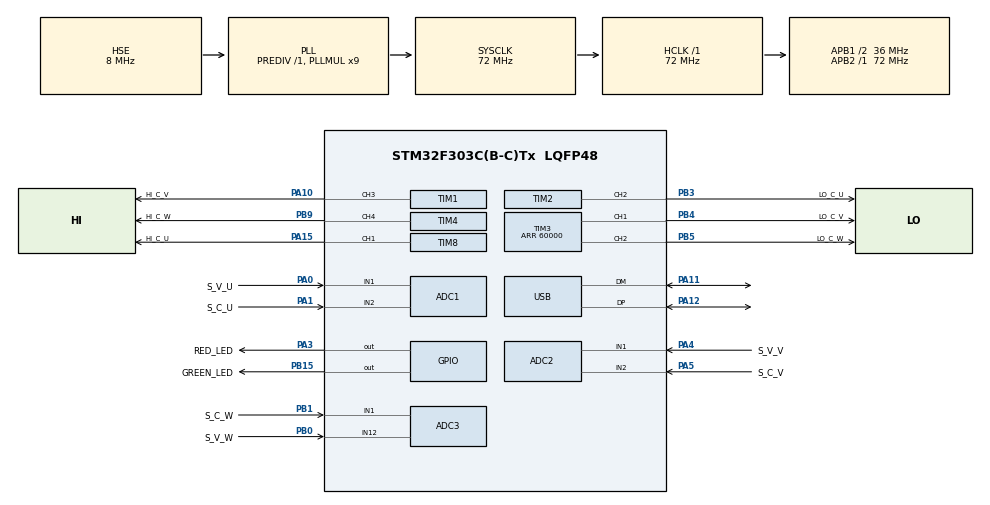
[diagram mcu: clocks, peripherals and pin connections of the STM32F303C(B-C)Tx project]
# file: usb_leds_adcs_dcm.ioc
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ADC1.Channel-12\#ChannelRegularConversion=ADC_CHANNEL_1
ADC1.Channel-13\#ChannelRegularConversion=ADC_CHANNEL_2
ADC1.ClockPrescaler=ADC_CLOCK_ASYNC_DIV1
ADC1.ContinuousConvMode=ENABLE
ADC1.EnableInjectedConversion=DISABLE
ADC1.EnableRegularConversion=ENABLE
ADC1.NbrOfConversion=2
ADC1.NbrOfConversionFlag=1
ADC1.Offset-12\#ChannelRegularConversion=0
ADC1.Offset-13\#ChannelRegularConversion=0
ADC1.OffsetNumber-12\#ChannelRegularConversion=ADC_OFFSET_NONE
ADC1.OffsetNumber-13\#ChannelRegularConversion=ADC_OFFSET_NONE
ADC1.Rank-12\#ChannelRegularConversion=1
ADC1.Rank-13\#ChannelRegularConversion=2
ADC1.Rank1_Channel=ADC_CHANNEL_1
ADC1.Rank2_Channel=ADC_CHANNEL_1
ADC1.Rank3_Channel=ADC_CHANNEL_1
ADC1.Rank4_Channel=ADC_CHANNEL_1
ADC1.SamplingTime-12\#ChannelRegularConversion=ADC_SAMPLETIME_1CYCLE_5
ADC1.SamplingTime-13\#ChannelRegularConversion=ADC_SAMPLETIME_1CYCLE_5
ADC1.SamplingTimeOPAMP-12\#ChannelRegularConversion=ADC_SAMPLETIME_61CYCLES_5
ADC1.SamplingTimeOPAMP-13\#ChannelRegularConversion=ADC_SAMPLETIME_61CYCLES_5
ADC1.master=1
ADC2.Channel-0\#ChannelRegularConversion=ADC_CHANNEL_1
ADC2.Channel-1\#ChannelRegularConversion=ADC_CHANNEL_2
ADC2.ContinuousConvMode=ENABLE
ADC2.EnableInjectedConversion=DISABLE
ADC2.NbrOfConversion=2
ADC2.NbrOfConversionFlag=1
ADC2.Offset-0\#ChannelRegularConversion=0
ADC2.Offset-1\#ChannelRegularConversion=0
ADC2.OffsetNumber-0\#ChannelRegularConversion=ADC_OFFSET_NONE
ADC2.OffsetNumber-1\#ChannelRegularConversion=ADC_OFFSET_NONE
ADC2.Rank-0\#ChannelRegularConversion=1
ADC2.Rank-1\#ChannelRegularConversion=2
ADC2.SamplingTime-0\#ChannelRegularConversion=ADC_SAMPLETIME_1CYCLE_5
ADC2.SamplingTime-1\#ChannelRegularConversion=ADC_SAMPLETIME_1CYCLE_5
ADC2.SamplingTimeOPAMP-1\#ChannelRegularConversion=ADC_SAMPLETIME_19CYCLES_5
ADC3.Channel-0\#ChannelRegularConversion=ADC_CHANNEL_1
ADC3.Channel-1\#ChannelRegularConversion=ADC_CHANNEL_12
ADC3.ContinuousConvMode=ENABLE
ADC3.EnableInjectedConversion=DISABLE
ADC3.NbrOfConversion=2
ADC3.NbrOfConversionFlag=1
ADC3.Offset-0\#ChannelRegularConversion=0
ADC3.Offset-1\#ChannelRegularConversion=0
ADC3.OffsetNumber-0\#ChannelRegularConversion=ADC_OFFSET_NONE
ADC3.OffsetNumber-1\#ChannelRegularConversion=ADC_OFFSET_NONE
ADC3.Rank-0\#ChannelRegularConversion=1
ADC3.Rank-1\#ChannelRegularConversion=2
ADC3.SamplingTime-0\#ChannelRegularConversion=ADC_SAMPLETIME_1CYCLE_5
ADC3.SamplingTime-1\#ChannelRegularConversion=ADC_SAMPLETIME_1CYCLE_5
ADC3.SamplingTimeOPAMP-1\#ChannelRegularConversion=ADC_SAMPLETIME_19CYCLES_5
ADC3.master=1
Dma.ADC1.0.Direction=DMA_PERIPH_TO_MEMORY
Dma.ADC1.0.Instance=DMA1_Channel1
Dma.ADC1.0.MemDataAlignment=DMA_MDATAALIGN_HALFWORD
Dma.ADC1.0.MemInc=DMA_MINC_ENABLE
Dma.ADC1.0.Mode=DMA_NORMAL
Dma.ADC1.0.PeriphDataAlignment=DMA_PDATAALIGN_HALFWORD
Dma.ADC1.0.PeriphInc=DMA_PINC_DISABLE
Dma.ADC1.0.Priority=DMA_PRIORITY_LOW
Dma.ADC2.1.Direction=DMA_PERIPH_TO_MEMORY
Dma.ADC2.1.Instance=DMA2_Channel1
Dma.ADC2.1.MemDataAlignment=DMA_MDATAALIGN_HALFWORD
Dma.ADC2.1.MemInc=DMA_MINC_ENABLE
Dma.ADC2.1.Mode=DMA_NORMAL
Dma.ADC2.1.PeriphDataAlignment=DMA_PDATAALIGN_HALFWORD
Dma.ADC2.1.PeriphInc=DMA_PINC_DISABLE
Dma.ADC2.1.Priority=DMA_PRIORITY_LOW
Dma.ADC3.2.Direction=DMA_PERIPH_TO_MEMORY
Dma.ADC3.2.Instance=DMA2_Channel5
Dma.ADC3.2.MemDataAlignment=DMA_MDATAALIGN_HALFWORD
Dma.ADC3.2.MemInc=DMA_MINC_ENABLE
Dma.ADC3.2.Mode=DMA_NORMAL
Dma.ADC3.2.PeriphDataAlignment=DMA_PDATAALIGN_HALFWORD
Dma.ADC3.2.PeriphInc=DMA_PINC_DISABLE
Dma.ADC3.2.Priority=DMA_PRIORITY_LOW
Dma.Request0=ADC1
Dma.Request1=ADC2
Dma.Request2=ADC3
Mcu.Family=STM32F3
Mcu.Name=STM32F303C(B-C)Tx
Mcu.Package=LQFP48
NVIC.DMA1_Channel1_IRQn=true\:0\:0\:false\:false\:true\:false\:true
NVIC.DMA2_Channel1_IRQn=true\:0\:0\:false\:false\:true\:false\:true
NVIC.DMA2_Channel5_IRQn=true\:0\:0\:false\:false\:true\:false\:true
NVIC.PriorityGroup=NVIC_PRIORITYGROUP_4
NVIC.USB_LP_CAN_RX0_IRQn=true\:0\:0\:false\:false\:true\:false\:true
PA0.GPIO_Label=S_V_U
PA0.Mode=IN1-Single-Ended
PA0.Signal=ADC1_IN1
PA1.GPIO_Label=S_C_U
PA1.Mode=IN2-Single-Ended
PA1.Signal=ADC1_IN2
PA10.GPIO_Label=HI_C_V
PA10.Signal=S_TIM1_CH3
PA11.Mode=Device
PA11.Signal=USB_DM
PA12.Mode=Device
PA12.Signal=USB_DP
PA15.GPIO_Label=HI_C_U
PA15.Signal=S_TIM8_CH1
PA3.GPIO_Label=RED_LED
PA3.Signal=GPIO_Output
PA4.GPIO_Label=S_V_V
PA4.Mode=IN1-Single-Ended
PA4.Signal=ADC2_IN1
PA5.GPIO_Label=S_C_V
PA5.Mode=IN2-Single-Ended
PA5.Signal=ADC2_IN2
PB0.GPIO_Label=S_V_W
PB0.Mode=IN12-Single-Ended
PB0.Signal=ADC3_IN12
PB1.GPIO_Label=S_C_W
PB1.Mode=IN1-Single-Ended
PB1.Signal=ADC3_IN1
PB15.GPIO_Label=GREEN_LED
PB15.Signal=GPIO_Output
PB3.GPIO_Label=LO_C_U
PB3.Signal=S_TIM2_CH2
PB4.GPIO_Label=LO_C_V
PB4.Signal=S_TIM3_CH1
PB5.GPIO_Label=LO_C_W
PB5.Signal=S_TIM3_CH2
PB9.GPIO_Label=HI_C_W
PB9.Signal=S_TIM4_CH4
PF0-OSC_IN.Mode=HSE-External-Oscillator
PF0-OSC_IN.Signal=RCC_OSC_IN
PF1-OSC_OUT.Mode=HSE-External-Oscillator
PF1-OSC_OUT.Signal=RCC_OSC_OUT
ProjectManager.HeapSize=0x400
ProjectManager.StackSize=0x400
ProjectManager.TargetToolchain=MDK-ARM V5
RCC.AHBFreq_Value=72000000
RCC.APB1CLKDivider=RCC_HCLK_DIV2
RCC.APB1Freq_Value=36000000
RCC.APB1TimFreq_Value=72000000
RCC.APB2Freq_Value=72000000
RCC.APB2TimFreq_Value=72000000
RCC.CortexFreq_Value=72000000
RCC.HCLKFreq_Value=72000000
RCC.HSE_VALUE=8000000
RCC.HSI_VALUE=8000000
RCC.LSE_VALUE=32768
RCC.PLLMUL=RCC_PLL_MUL9
RCC.PRESCALERUSB=RCC_USBCLKSOURCE_PLL_DIV1_5
RCC.SYSCLKFreq_VALUE=72000000
RCC.SYSCLKSourceVirtual=RCC_SYSCLKSOURCE_PLLCLK
RCC.USBFreq_Value=48000000
SH.S_TIM1_CH3.0=TIM1_CH3,PWM Generation3 CH3
SH.S_TIM2_CH2.0=TIM2_CH2,PWM Generation2 CH2
SH.S_TIM3_CH1.0=TIM3_CH1,PWM Generation1 CH1
SH.S_TIM3_CH2.0=TIM3_CH2,PWM Generation2 CH2
SH.S_TIM4_CH4.0=TIM4_CH4,PWM Generation4 CH4
SH.S_TIM8_CH1.0=TIM8_CH1,PWM Generation1 CH1
TIM1.Channel-PWM\ Generation3\ CH3=TIM_CHANNEL_3
TIM1.Period=60000
TIM1.Pulse-PWM\ Generation3\ CH3=0
TIM2.Channel-PWM\ Generation2\ CH2=TIM_CHANNEL_2
TIM2.Period=60000
TIM2.Pulse-PWM\ Generation2\ CH2=0
TIM3.Channel-PWM\ Generation1\ CH1=TIM_CHANNEL_1
TIM3.Channel-PWM\ Generation2\ CH2=TIM_CHANNEL_2
TIM3.Period=60000
TIM4.Channel-PWM\ Generation4\ CH4=TIM_CHANNEL_4
TIM4.Period=60000
TIM8.Channel-PWM\ Generation1\ CH1=TIM_CHANNEL_1
TIM8.Period=60000
TIM8.Pulse-PWM\ Generation1\ CH1=0
USB_DEVICE.CLASS_NAME_FS=CDC
USB_DEVICE.USBD_MAX_STR_DESC_SIZ=256
USB_DEVICE.VirtualMode=Cdc
USB_DEVICE.VirtualModeFS=Cdc_FS
VP_USB_DEVICE_VS_USB_DEVICE_CDC_FS.Mode=CDC_FS
board=custom

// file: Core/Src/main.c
/* USER CODE BEGIN Header */
/**
  ******************************************************************************
  * @file           : main.c
  * @brief          : Main program body
  ******************************************************************************
  * @attention
  *
  * <h2><center>&copy; Copyright (c) 2021 STMicroelectronics.
  * All rights reserved.</center></h2>
  *
  * This software component is licensed by ST under Ultimate Liberty license
  * SLA0044, the "License"; You may not use this file except in compliance with
  * the License. You may obtain a copy of the License at:
  *                             www.st.com/SLA0044
  *
  ******************************************************************************
  */
/* USER CODE END Header */
#include "main.h"
#include "usb_device.h"

/* USER CODE BEGIN Includes */
#include "usbd_cdc_if.h"
/* USER CODE END Includes */

ADC_HandleTypeDef hadc1;
ADC_HandleTypeDef hadc2;
ADC_HandleTypeDef hadc3;
DMA_HandleTypeDef hdma_adc1;
DMA_HandleTypeDef hdma_adc2;
DMA_HandleTypeDef hdma_adc3;

TIM_HandleTypeDef htim1;
TIM_HandleTypeDef htim2;
TIM_HandleTypeDef htim3;
TIM_HandleTypeDef htim4;
TIM_HandleTypeDef htim8;

/* USER CODE BEGIN PV */

char trans_str[64] = {0,};

char str_rx[64] = {0};
volatile uint8_t flag1 = 0;
volatile uint8_t flag2 = 0;
volatile uint8_t flag3 = 0;

//t1 ch3 HI_C_V
//t2 ch2 LO_C_U
//t3 ch1 LO_C_V ch2 LO_C_W
//t4 ch4 HI_C_W
//t8 ch1 HI_C_U

/* USER CODE END PV */

void SystemClock_Config(void);
static void MX_GPIO_Init(void);
static void MX_DMA_Init(void);
static void MX_ADC1_Init(void);
static void MX_ADC2_Init(void);
static void MX_ADC3_Init(void);
static void MX_TIM8_Init(void);
static void MX_TIM1_Init(void);
static void MX_TIM2_Init(void);
static void MX_TIM3_Init(void);
static void MX_TIM4_Init(void);
/* USER CODE BEGIN PFP */
void GPIO_PINS_RESET(void);
void TIMS_ROTATE_RESET(void);
/* USER CODE END PFP */

int main(void)
{
  /* USER CODE BEGIN 1 */

	uint16_t adc1[2] = {0,};
	uint16_t adc2[2] = {0,};
	uint16_t adc3[2] = {0,};
	int pwm_S = 0;

	double SVU = 0.0;
	double SVV = 0.0;
	double SVW = 0.0;

	double SCU = 0.0;
	double SCV = 0.0;
	double SCW = 0.0;

  /* USER CODE END 1 */

  /* MCU Configuration--------------------------------------------------------*/

  /* Reset of all peripherals, Initializes the Flash interface and the Systick. */
  HAL_Init();

  /* Configure the system clock */
  SystemClock_Config();

  /* Initialize all configured peripherals */
  MX_GPIO_Init();
  MX_DMA_Init();
  MX_USB_DEVICE_Init();
  MX_ADC1_Init();
  MX_ADC2_Init();
  MX_ADC3_Init();
  MX_TIM8_Init();
  MX_TIM1_Init();
  MX_TIM2_Init();
  MX_TIM3_Init();
  MX_TIM4_Init();
  /* USER CODE BEGIN 2 */

	HAL_ADCEx_Calibration_Start(&hadc1, ADC_SINGLE_ENDED);
	HAL_ADCEx_Calibration_Start(&hadc2, ADC_SINGLE_ENDED);
	HAL_ADCEx_Calibration_Start(&hadc3, ADC_SINGLE_ENDED);

	HAL_ADC_Start_DMA(&hadc1, (uint32_t*)&adc1, 2);
	HAL_ADC_Start_DMA(&hadc2, (uint32_t*)&adc2, 2);
	HAL_ADC_Start_DMA(&hadc3, (uint32_t*)&adc3, 2);

  /* USER CODE END 2 */

  /* Infinite loop */
  /* USER CODE BEGIN WHILE */

  while (1)
  {

		if (flag1 && flag2 && flag3){
			flag1 = 0;
			flag2 = 0;
			flag3 = 0;

			HAL_ADC_Stop_DMA(&hadc1);
			HAL_ADC_Stop_DMA(&hadc1);
			HAL_ADC_Stop_DMA(&hadc1);

			SVU = (double)(adc1[0])*3.3/4095.0;//V
			SVV = (double)(adc2[0])*3.3/4095.0;//V
			SVW = (double)(adc3[0])*3.3/4095.0;//V

			SCU = (double)(adc1[1])*3.3/4095.0;//V
			SCV = (double)(adc2[1])*3.3/4095.0;//V
			SCW = (double)(adc3[1])*3.3/4095.0;//V

      sprintf(trans_str, "U %f %f V %f %f W %f %f\r\n", SVU, SCU, SVV, SCV, SVW, SCW);
      CDC_Transmit_FS((uint8_t*)trans_str, strlen(trans_str));

			adc1[0] = 0;
      adc1[1] = 0;

			adc2[0] = 0;
      adc2[1] = 0;

			adc3[0] = 0;
      adc3[1] = 0;

      HAL_ADC_Start_DMA(&hadc1, (uint32_t*)&adc1, 2);
			HAL_ADC_Start_DMA(&hadc2, (uint32_t*)&adc2, 2);
			HAL_ADC_Start_DMA(&hadc3, (uint32_t*)&adc3, 2);

		} else {

			if (flag1){
				flag1 = 0;

				SVU = (double)(adc1[0])*3.3/4095.0;
				SCU = (double)(adc1[1])*3.3/4095.0;

				HAL_ADC_Stop_DMA(&hadc1);
				sprintf(trans_str, "ADC_U %f %f\r\n", SVU, SCU);
				CDC_Transmit_FS((uint8_t*)trans_str, strlen(trans_str));

				adc1[0] = 0;
				adc1[1] = 0;

				HAL_ADC_Start_DMA(&hadc1, (uint32_t*)&adc1, 2);
			}

			if (flag2){
				flag2 = 0;

				SVV = (double)(adc2[0])*3.3/4095.0;
				SCV = (double)(adc2[1])*3.3/4095.0;

				HAL_ADC_Stop_DMA(&hadc2);
				sprintf(trans_str, "ADC_V %f %f\r\n", SVV, SCV);
				CDC_Transmit_FS((uint8_t*)trans_str, strlen(trans_str));

				adc2[0] = 0;
				adc2[1] = 0;

				HAL_ADC_Start_DMA(&hadc2, (uint32_t*)&adc2, 2);
			}

			if (flag3){
				flag3 = 0;

				SVW = (double)(adc3[0])*3.3/4095.0;
				SCW = (double)(adc3[1])*3.3/4095.0;

				HAL_ADC_Stop_DMA(&hadc3);
				sprintf(trans_str, "ADC_W %f %f\r\n", SVW, SCW);
				CDC_Transmit_FS((uint8_t*)trans_str, strlen(trans_str));

				adc3[0] = 0;
				adc3[1] = 0;

				HAL_ADC_Start_DMA(&hadc3, (uint32_t*)&adc3, 2);
			}
		}

    /* USER CODE END WHILE */

    /* USER CODE BEGIN 3 */

		//t1 ch3 HI_C_V
		//t2 ch2 LO_C_U
		//t3 ch1 LO_C_V ch2 LO_C_W
		//t4 ch4 HI_C_W
		//t8 ch1 HI_C_U

		if (str_rx[0] == '1'){
			pwm_S = 60000*0.1;
		}
		if (str_rx[0] == '2'){
			pwm_S = 60000*0.2;
		}
		if (str_rx[0] == '3'){
			pwm_S = 60000*0.3;
		}
		if (str_rx[0] == '4'){
			pwm_S = 60000*0.4;
		}
		if (str_rx[0] == '5'){
			pwm_S = 60000*0.5;
		}
		if (str_rx[0] == '6'){
			pwm_S = 60000*0.6;
		}
		if (str_rx[0] == '7'){
			pwm_S = 60000*0.7;
		}
		if (str_rx[0] == '8'){
			pwm_S = 60000*0.8;
		}
		if (str_rx[0] == '9'){
			pwm_S = 60000*0.9;
		}

		if (str_rx[0] == 'G'){
			//GPIO_PINS_RESET();CLOCKWiSE

			HAL_GPIO_WritePin(GREEN_LED_GPIO_Port, GREEN_LED_Pin, GPIO_PIN_SET);

			sprintf(trans_str, "pwm_S %d", pwm_S);
      CDC_Transmit_FS((uint8_t*)trans_str, strlen(trans_str));

			//pwm_S = 6*5000;
			TIM8->CCR1 = pwm_S;
			HAL_TIM_PWM_Start_IT(&htim8, TIM_CHANNEL_1);

			TIM3->CCR2 = 60000;
			HAL_TIM_PWM_Start_IT(&htim3, TIM_CHANNEL_2);

			//HAL_GPIO_WritePin(HI_C_U_GPIO_Port, HI_C_U_Pin, GPIO_PIN_SET);
			//HAL_GPIO_WritePin(LO_C_W_GPIO_Port, LO_C_W_Pin, GPIO_PIN_SET);
		}

		if (str_rx[0] == 'g'){
			GPIO_PINS_RESET();
			TIMS_ROTATE_RESET();
//			TIM8->CCR1 = 0;
//			HAL_TIM_PWM_Stop_IT(&htim8, TIM_CHANNEL_1);
//
//			HAL_Delay(50);
//			TIM3->CCR2 = 0;
//			HAL_TIM_PWM_Stop_IT(&htim3, TIM_CHANNEL_2);
//
//			HAL_GPIO_WritePin(GREEN_LED_GPIO_Port, GREEN_LED_Pin, GPIO_PIN_RESET);
		}

		if (str_rx[0] == 'R'){
			//GPIO_PINS_RESET();COntrolClockwise
			HAL_GPIO_WritePin(RED_LED_GPIO_Port, RED_LED_Pin, GPIO_PIN_SET);

			//pwm_S = 6*5000;
			TIM4->CCR4 = pwm_S;
			HAL_TIM_PWM_Start_IT(&htim4, TIM_CHANNEL_4);

			TIM2->CCR2 = 60000;
			HAL_TIM_PWM_Start_IT(&htim2, TIM_CHANNEL_2);

			//HAL_GPIO_WritePin(LO_C_U_GPIO_Port, LO_C_U_Pin, GPIO_PIN_SET);
			//HAL_GPIO_WritePin(HI_C_W_GPIO_Port, HI_C_W_Pin, GPIO_PIN_SET);

		}

		if (str_rx[0] == 'r'){
			GPIO_PINS_RESET();
			TIMS_ROTATE_RESET();
//			TIM4->CCR4 = 0;
//			HAL_TIM_PWM_Stop_IT(&htim4, TIM_CHANNEL_4);
//
//			HAL_Delay(50);
//			TIM2->CCR2 = 0;
//			HAL_TIM_PWM_Stop_IT(&htim2, TIM_CHANNEL_2);
//
//			HAL_GPIO_WritePin(RED_LED_GPIO_Port, RED_LED_Pin, GPIO_PIN_RESET);
		}
		HAL_Delay(10);
  }
  /* USER CODE END 3 */
}

void SystemClock_Config(void)
{
  RCC_OscInitTypeDef RCC_OscInitStruct = {0};
  RCC_ClkInitTypeDef RCC_ClkInitStruct = {0};
  RCC_PeriphCLKInitTypeDef PeriphClkInit = {0};

  /** Initializes the RCC Oscillators according to the specified parameters
  * in the RCC_OscInitTypeDef structure.
  */
  RCC_OscInitStruct.OscillatorType = RCC_OSCILLATORTYPE_HSE;
  RCC_OscInitStruct.HSEState = RCC_HSE_ON;
  RCC_OscInitStruct.HSEPredivValue = RCC_HSE_PREDIV_DIV1;
  RCC_OscInitStruct.HSIState = RCC_HSI_ON;
  RCC_OscInitStruct.PLL.PLLState = RCC_PLL_ON;
  RCC_OscInitStruct.PLL.PLLSource = RCC_PLLSOURCE_HSE;
  RCC_OscInitStruct.PLL.PLLMUL = RCC_PLL_MUL9;
  if (HAL_RCC_OscConfig(&RCC_OscInitStruct) != HAL_OK)
  {
    Error_Handler();
  }
  /** Initializes the CPU, AHB and APB buses clocks
  */
  RCC_ClkInitStruct.ClockType = RCC_CLOCKTYPE_HCLK|RCC_CLOCKTYPE_SYSCLK
                              |RCC_CLOCKTYPE_PCLK1|RCC_CLOCKTYPE_PCLK2;
  RCC_ClkInitStruct.SYSCLKSource = RCC_SYSCLKSOURCE_PLLCLK;
  RCC_ClkInitStruct.AHBCLKDivider = RCC_SYSCLK_DIV1;
  RCC_ClkInitStruct.APB1CLKDivider = RCC_HCLK_DIV2;
  RCC_ClkInitStruct.APB2CLKDivider = RCC_HCLK_DIV1;

  if (HAL_RCC_ClockConfig(&RCC_ClkInitStruct, FLASH_LATENCY_2) != HAL_OK)
  {
    Error_Handler();
  }
  PeriphClkInit.PeriphClockSelection = RCC_PERIPHCLK_USB|RCC_PERIPHCLK_TIM1
                              |RCC_PERIPHCLK_TIM8|RCC_PERIPHCLK_ADC12
                              |RCC_PERIPHCLK_ADC34;
  PeriphClkInit.Adc12ClockSelection = RCC_ADC12PLLCLK_DIV1;
  PeriphClkInit.Adc34ClockSelection = RCC_ADC34PLLCLK_DIV1;
  PeriphClkInit.USBClockSelection = RCC_USBCLKSOURCE_PLL_DIV1_5;
  PeriphClkInit.Tim1ClockSelection = RCC_TIM1CLK_HCLK;
  PeriphClkInit.Tim8ClockSelection = RCC_TIM8CLK_HCLK;
  if (HAL_RCCEx_PeriphCLKConfig(&PeriphClkInit) != HAL_OK)
  {
    Error_Handler();
  }
}

static void MX_ADC1_Init(void)
{

  ADC_MultiModeTypeDef multimode = {0};
  ADC_ChannelConfTypeDef sConfig = {0};

  /** Common config
  */
  hadc1.Instance = ADC1;
  hadc1.Init.ClockPrescaler = ADC_CLOCK_ASYNC_DIV1;
  hadc1.Init.Resolution = ADC_RESOLUTION_12B;
  hadc1.Init.ScanConvMode = ADC_SCAN_ENABLE;
  hadc1.Init.ContinuousConvMode = ENABLE;
  hadc1.Init.DiscontinuousConvMode = DISABLE;
  hadc1.Init.ExternalTrigConvEdge = ADC_EXTERNALTRIGCONVEDGE_NONE;
  hadc1.Init.ExternalTrigConv = ADC_SOFTWARE_START;
  hadc1.Init.DataAlign = ADC_DATAALIGN_RIGHT;
  hadc1.Init.NbrOfConversion = 2;
  hadc1.Init.DMAContinuousRequests = DISABLE;
  hadc1.Init.EOCSelection = ADC_EOC_SINGLE_CONV;
  hadc1.Init.LowPowerAutoWait = DISABLE;
  hadc1.Init.Overrun = ADC_OVR_DATA_OVERWRITTEN;
  if (HAL_ADC_Init(&hadc1) != HAL_OK)
  {
    Error_Handler();
  }
  /** Configure the ADC multi-mode
  */
  multimode.Mode = ADC_MODE_INDEPENDENT;
  if (HAL_ADCEx_MultiModeConfigChannel(&hadc1, &multimode) != HAL_OK)
  {
    Error_Handler();
  }
  /** Configure Regular Channel
  */
  sConfig.Channel = ADC_CHANNEL_1;
  sConfig.Rank = ADC_REGULAR_RANK_1;
  sConfig.SingleDiff = ADC_SINGLE_ENDED;
  sConfig.SamplingTime = ADC_SAMPLETIME_1CYCLE_5;
  sConfig.OffsetNumber = ADC_OFFSET_NONE;
  sConfig.Offset = 0;
  if (HAL_ADC_ConfigChannel(&hadc1, &sConfig) != HAL_OK)
  {
    Error_Handler();
  }
  /** Configure Regular Channel
  */
  sConfig.Channel = ADC_CHANNEL_2;
  sConfig.Rank = ADC_REGULAR_RANK_2;
  if (HAL_ADC_ConfigChannel(&hadc1, &sConfig) != HAL_OK)
  {
    Error_Handler();
  }

}

static void MX_ADC2_Init(void)
{

  ADC_ChannelConfTypeDef sConfig = {0};

  /** Common config
  */
  hadc2.Instance = ADC2;
  hadc2.Init.ClockPrescaler = ADC_CLOCK_ASYNC_DIV1;
  hadc2.Init.Resolution = ADC_RESOLUTION_12B;
  hadc2.Init.ScanConvMode = ADC_SCAN_ENABLE;
  hadc2.Init.ContinuousConvMode = ENABLE;
  hadc2.Init.DiscontinuousConvMode = DISABLE;
  hadc2.Init.ExternalTrigConvEdge = ADC_EXTERNALTRIGCONVEDGE_NONE;
  hadc2.Init.ExternalTrigConv = ADC_SOFTWARE_START;
  hadc2.Init.DataAlign = ADC_DATAALIGN_RIGHT;
  hadc2.Init.NbrOfConversion = 2;
  hadc2.Init.DMAContinuousRequests = DISABLE;
  hadc2.Init.EOCSelection = ADC_EOC_SINGLE_CONV;
  hadc2.Init.LowPowerAutoWait = DISABLE;
  hadc2.Init.Overrun = ADC_OVR_DATA_OVERWRITTEN;
  if (HAL_ADC_Init(&hadc2) != HAL_OK)
  {
    Error_Handler();
  }
  /** Configure Regular Channel
  */
  sConfig.Channel = ADC_CHANNEL_1;
  sConfig.Rank = ADC_REGULAR_RANK_1;
  sConfig.SingleDiff = ADC_SINGLE_ENDED;
  sConfig.SamplingTime = ADC_SAMPLETIME_1CYCLE_5;
  sConfig.OffsetNumber = ADC_OFFSET_NONE;
  sConfig.Offset = 0;
  if (HAL_ADC_ConfigChannel(&hadc2, &sConfig) != HAL_OK)
  {
    Error_Handler();
  }
  /** Configure Regular Channel
  */
  sConfig.Channel = ADC_CHANNEL_2;
  sConfig.Rank = ADC_REGULAR_RANK_2;
  if (HAL_ADC_ConfigChannel(&hadc2, &sConfig) != HAL_OK)
  {
    Error_Handler();
  }

}

static void MX_ADC3_Init(void)
{

  ADC_MultiModeTypeDef multimode = {0};
  ADC_ChannelConfTypeDef sConfig = {0};

  /** Common config
  */
  hadc3.Instance = ADC3;
  hadc3.Init.ClockPrescaler = ADC_CLOCK_ASYNC_DIV1;
  hadc3.Init.Resolution = ADC_RESOLUTION_12B;
  hadc3.Init.ScanConvMode = ADC_SCAN_ENABLE;
  hadc3.Init.ContinuousConvMode = ENABLE;
  hadc3.Init.DiscontinuousConvMode = DISABLE;
  hadc3.Init.ExternalTrigConvEdge = ADC_EXTERNALTRIGCONVEDGE_NONE;
  hadc3.Init.ExternalTrigConv = ADC_SOFTWARE_START;
  hadc3.Init.DataAlign = ADC_DATAALIGN_RIGHT;
  hadc3.Init.NbrOfConversion = 2;
  hadc3.Init.DMAContinuousRequests = DISABLE;
  hadc3.Init.EOCSelection = ADC_EOC_SINGLE_CONV;
  hadc3.Init.LowPowerAutoWait = DISABLE;
  hadc3.Init.Overrun = ADC_OVR_DATA_OVERWRITTEN;
  if (HAL_ADC_Init(&hadc3) != HAL_OK)
  {
    Error_Handler();
  }
  /** Configure the ADC multi-mode
  */
  multimode.Mode = ADC_MODE_INDEPENDENT;
  if (HAL_ADCEx_MultiModeConfigChannel(&hadc3, &multimode) != HAL_OK)
  {
    Error_Handler();
  }
  /** Configure Regular Channel
  */
  sConfig.Channel = ADC_CHANNEL_1;
  sConfig.Rank = ADC_REGULAR_RANK_1;
  sConfig.SingleDiff = ADC_SINGLE_ENDED;
  sConfig.SamplingTime = ADC_SAMPLETIME_1CYCLE_5;
  sConfig.OffsetNumber = ADC_OFFSET_NONE;
  sConfig.Offset = 0;
  if (HAL_ADC_ConfigChannel(&hadc3, &sConfig) != HAL_OK)
  {
    Error_Handler();
  }
  /** Configure Regular Channel
  */
  sConfig.Channel = ADC_CHANNEL_12;
  sConfig.Rank = ADC_REGULAR_RANK_2;
  if (HAL_ADC_ConfigChannel(&hadc3, &sConfig) != HAL_OK)
  {
    Error_Handler();
  }

}

static void MX_TIM1_Init(void)
{

  TIM_MasterConfigTypeDef sMasterConfig = {0};
  TIM_OC_InitTypeDef sConfigOC = {0};
  TIM_BreakDeadTimeConfigTypeDef sBreakDeadTimeConfig = {0};

  htim1.Instance = TIM1;
  htim1.Init.Prescaler = 0;
  htim1.Init.CounterMode = TIM_COUNTERMODE_UP;
  htim1.Init.Period = 60000;
  htim1.Init.ClockDivision = TIM_CLOCKDIVISION_DIV1;
  htim1.Init.RepetitionCounter = 0;
  htim1.Init.AutoReloadPreload = TIM_AUTORELOAD_PRELOAD_DISABLE;
  if (HAL_TIM_PWM_Init(&htim1) != HAL_OK)
  {
    Error_Handler();
  }
  sMasterConfig.MasterOutputTrigger = TIM_TRGO_RESET;
  sMasterConfig.MasterOutputTrigger2 = TIM_TRGO2_RESET;
  sMasterConfig.MasterSlaveMode = TIM_MASTERSLAVEMODE_DISABLE;
  if (HAL_TIMEx_MasterConfigSynchronization(&htim1, &sMasterConfig) != HAL_OK)
  {
    Error_Handler();
  }
  sConfigOC.OCMode = TIM_OCMODE_PWM1;
  sConfigOC.Pulse = 0;
  sConfigOC.OCPolarity = TIM_OCPOLARITY_HIGH;
  sConfigOC.OCNPolarity = TIM_OCNPOLARITY_HIGH;
  sConfigOC.OCFastMode = TIM_OCFAST_DISABLE;
  sConfigOC.OCIdleState = TIM_OCIDLESTATE_RESET;
  sConfigOC.OCNIdleState = TIM_OCNIDLESTATE_RESET;
  if (HAL_TIM_PWM_ConfigChannel(&htim1, &sConfigOC, TIM_CHANNEL_3) != HAL_OK)
  {
    Error_Handler();
  }
  sBreakDeadTimeConfig.OffStateRunMode = TIM_OSSR_DISABLE;
  sBreakDeadTimeConfig.OffStateIDLEMode = TIM_OSSI_DISABLE;
  sBreakDeadTimeConfig.LockLevel = TIM_LOCKLEVEL_OFF;
  sBreakDeadTimeConfig.DeadTime = 0;
  sBreakDeadTimeConfig.BreakState = TIM_BREAK_DISABLE;
  sBreakDeadTimeConfig.BreakPolarity = TIM_BREAKPOLARITY_HIGH;
  sBreakDeadTimeConfig.BreakFilter = 0;
  sBreakDeadTimeConfig.Break2State = TIM_BREAK2_DISABLE;
  sBreakDeadTimeConfig.Break2Polarity = TIM_BREAK2POLARITY_HIGH;
  sBreakDeadTimeConfig.Break2Filter = 0;
  sBreakDeadTimeConfig.AutomaticOutput = TIM_AUTOMATICOUTPUT_DISABLE;
  if (HAL_TIMEx_ConfigBreakDeadTime(&htim1, &sBreakDeadTimeConfig) != HAL_OK)
  {
    Error_Handler();
  }
  HAL_TIM_MspPostInit(&htim1);

}

static void MX_TIM2_Init(void)
{

  TIM_MasterConfigTypeDef sMasterConfig = {0};
  TIM_OC_InitTypeDef sConfigOC = {0};

  htim2.Instance = TIM2;
  htim2.Init.Prescaler = 0;
  htim2.Init.CounterMode = TIM_COUNTERMODE_UP;
  htim2.Init.Period = 60000;
  htim2.Init.ClockDivision = TIM_CLOCKDIVISION_DIV1;
  htim2.Init.AutoReloadPreload = TIM_AUTORELOAD_PRELOAD_DISABLE;
  if (HAL_TIM_PWM_Init(&htim2) != HAL_OK)
  {
    Error_Handler();
  }
  sMasterConfig.MasterOutputTrigger = TIM_TRGO_RESET;
  sMasterConfig.MasterSlaveMode = TIM_MASTERSLAVEMODE_DISABLE;
  if (HAL_TIMEx_MasterConfigSynchronization(&htim2, &sMasterConfig) != HAL_OK)
  {
    Error_Handler();
  }
  sConfigOC.OCMode = TIM_OCMODE_PWM1;
  sConfigOC.Pulse = 0;
  sConfigOC.OCPolarity = TIM_OCPOLARITY_HIGH;
  sConfigOC.OCFastMode = TIM_OCFAST_DISABLE;
  if (HAL_TIM_PWM_ConfigChannel(&htim2, &sConfigOC, TIM_CHANNEL_2) != HAL_OK)
  {
    Error_Handler();
  }
  HAL_TIM_MspPostInit(&htim2);

}

static void MX_TIM3_Init(void)
{

  TIM_MasterConfigTypeDef sMasterConfig = {0};
  TIM_OC_InitTypeDef sConfigOC = {0};

  htim3.Instance = TIM3;
  htim3.Init.Prescaler = 0;
  htim3.Init.CounterMode = TIM_COUNTERMODE_UP;
  htim3.Init.Period = 60000;
  htim3.Init.ClockDivision = TIM_CLOCKDIVISION_DIV1;
  htim3.Init.AutoReloadPreload = TIM_AUTORELOAD_PRELOAD_DISABLE;
  if (HAL_TIM_PWM_Init(&htim3) != HAL_OK)
  {
    Error_Handler();
  }
  sMasterConfig.MasterOutputTrigger = TIM_TRGO_RESET;
  sMasterConfig.MasterSlaveMode = TIM_MASTERSLAVEMODE_DISABLE;
  if (HAL_TIMEx_MasterConfigSynchronization(&htim3, &sMasterConfig) != HAL_OK)
  {
    Error_Handler();
  }
  sConfigOC.OCMode = TIM_OCMODE_PWM1;
  sConfigOC.Pulse = 0;
  sConfigOC.OCPolarity = TIM_OCPOLARITY_HIGH;
  sConfigOC.OCFastMode = TIM_OCFAST_DISABLE;
  if (HAL_TIM_PWM_ConfigChannel(&htim3, &sConfigOC, TIM_CHANNEL_1) != HAL_OK)
  {
    Error_Handler();
  }
  if (HAL_TIM_PWM_ConfigChannel(&htim3, &sConfigOC, TIM_CHANNEL_2) != HAL_OK)
  {
    Error_Handler();
  }
  HAL_TIM_MspPostInit(&htim3);

}

static void MX_TIM4_Init(void)
{

  TIM_MasterConfigTypeDef sMasterConfig = {0};
  TIM_OC_InitTypeDef sConfigOC = {0};

  htim4.Instance = TIM4;
  htim4.Init.Prescaler = 0;
  htim4.Init.CounterMode = TIM_COUNTERMODE_UP;
  htim4.Init.Period = 60000;
  htim4.Init.ClockDivision = TIM_CLOCKDIVISION_DIV1;
  htim4.Init.AutoReloadPreload = TIM_AUTORELOAD_PRELOAD_DISABLE;
  if (HAL_TIM_PWM_Init(&htim4) != HAL_OK)
  {
    Error_Handler();
  }
  sMasterConfig.MasterOutputTrigger = TIM_TRGO_RESET;
  sMasterConfig.MasterSlaveMode = TIM_MASTERSLAVEMODE_DISABLE;
  if (HAL_TIMEx_MasterConfigSynchronization(&htim4, &sMasterConfig) != HAL_OK)
  {
    Error_Handler();
  }
  sConfigOC.OCMode = TIM_OCMODE_PWM1;
  sConfigOC.Pulse = 0;
  sConfigOC.OCPolarity = TIM_OCPOLARITY_HIGH;
  sConfigOC.OCFastMode = TIM_OCFAST_DISABLE;
  if (HAL_TIM_PWM_ConfigChannel(&htim4, &sConfigOC, TIM_CHANNEL_4) != HAL_OK)
  {
    Error_Handler();
  }
  HAL_TIM_MspPostInit(&htim4);

}

static void MX_TIM8_Init(void)
{

  TIM_MasterConfigTypeDef sMasterConfig = {0};
  TIM_OC_InitTypeDef sConfigOC = {0};
  TIM_BreakDeadTimeConfigTypeDef sBreakDeadTimeConfig = {0};

  htim8.Instance = TIM8;
  htim8.Init.Prescaler = 0;
  htim8.Init.CounterMode = TIM_COUNTERMODE_UP;
  htim8.Init.Period = 60000;
  htim8.Init.ClockDivision = TIM_CLOCKDIVISION_DIV1;
  htim8.Init.RepetitionCounter = 0;
  htim8.Init.AutoReloadPreload = TIM_AUTORELOAD_PRELOAD_DISABLE;
  if (HAL_TIM_PWM_Init(&htim8) != HAL_OK)
  {
    Error_Handler();
  }
  sMasterConfig.MasterOutputTrigger = TIM_TRGO_RESET;
  sMasterConfig.MasterOutputTrigger2 = TIM_TRGO2_RESET;
  sMasterConfig.MasterSlaveMode = TIM_MASTERSLAVEMODE_DISABLE;
  if (HAL_TIMEx_MasterConfigSynchronization(&htim8, &sMasterConfig) != HAL_OK)
  {
    Error_Handler();
  }
  sConfigOC.OCMode = TIM_OCMODE_PWM1;
  sConfigOC.Pulse = 0;
  sConfigOC.OCPolarity = TIM_OCPOLARITY_HIGH;
  sConfigOC.OCNPolarity = TIM_OCNPOLARITY_HIGH;
  sConfigOC.OCFastMode = TIM_OCFAST_DISABLE;
  sConfigOC.OCIdleState = TIM_OCIDLESTATE_RESET;
  sConfigOC.OCNIdleState = TIM_OCNIDLESTATE_RESET;
  if (HAL_TIM_PWM_ConfigChannel(&htim8, &sConfigOC, TIM_CHANNEL_1) != HAL_OK)
  {
    Error_Handler();
  }
  sBreakDeadTimeConfig.OffStateRunMode = TIM_OSSR_DISABLE;
  sBreakDeadTimeConfig.OffStateIDLEMode = TIM_OSSI_DISABLE;
  sBreakDeadTimeConfig.LockLevel = TIM_LOCKLEVEL_OFF;
  sBreakDeadTimeConfig.DeadTime = 0;
  sBreakDeadTimeConfig.BreakState = TIM_BREAK_DISABLE;
  sBreakDeadTimeConfig.BreakPolarity = TIM_BREAKPOLARITY_HIGH;
  sBreakDeadTimeConfig.BreakFilter = 0;
  sBreakDeadTimeConfig.Break2State = TIM_BREAK2_DISABLE;
  sBreakDeadTimeConfig.Break2Polarity = TIM_BREAK2POLARITY_HIGH;
  sBreakDeadTimeConfig.Break2Filter = 0;
  sBreakDeadTimeConfig.AutomaticOutput = TIM_AUTOMATICOUTPUT_DISABLE;
  if (HAL_TIMEx_ConfigBreakDeadTime(&htim8, &sBreakDeadTimeConfig) != HAL_OK)
  {
    Error_Handler();
  }
  HAL_TIM_MspPostInit(&htim8);

}

static void MX_DMA_Init(void)
{

  /* DMA controller clock enable */
  __HAL_RCC_DMA1_CLK_ENABLE();
  __HAL_RCC_DMA2_CLK_ENABLE();

  /* DMA interrupt init */
  /* DMA1_Channel1_IRQn interrupt configuration */
  HAL_NVIC_SetPriority(DMA1_Channel1_IRQn, 0, 0);
  HAL_NVIC_EnableIRQ(DMA1_Channel1_IRQn);
  /* DMA2_Channel1_IRQn interrupt configuration */
  HAL_NVIC_SetPriority(DMA2_Channel1_IRQn, 0, 0);
  HAL_NVIC_EnableIRQ(DMA2_Channel1_IRQn);
  /* DMA2_Channel5_IRQn interrupt configuration */
  HAL_NVIC_SetPriority(DMA2_Channel5_IRQn, 0, 0);
  HAL_NVIC_EnableIRQ(DMA2_Channel5_IRQn);

}

static void MX_GPIO_Init(void)
{
  GPIO_InitTypeDef GPIO_InitStruct = {0};

  /* GPIO Ports Clock Enable */
  __HAL_RCC_GPIOF_CLK_ENABLE();
  __HAL_RCC_GPIOA_CLK_ENABLE();
  __HAL_RCC_GPIOB_CLK_ENABLE();

  /*Configure GPIO pin Output Level */
  HAL_GPIO_WritePin(RED_LED_GPIO_Port, RED_LED_Pin, GPIO_PIN_RESET);

  /*Configure GPIO pin Output Level */
  HAL_GPIO_WritePin(GREEN_LED_GPIO_Port, GREEN_LED_Pin, GPIO_PIN_RESET);

  /*Configure GPIO pin : RED_LED_Pin */
  GPIO_InitStruct.Pin = RED_LED_Pin;
  GPIO_InitStruct.Mode = GPIO_MODE_OUTPUT_PP;
  GPIO_InitStruct.Pull = GPIO_NOPULL;
  GPIO_InitStruct.Speed = GPIO_SPEED_FREQ_LOW;
  HAL_GPIO_Init(RED_LED_GPIO_Port, &GPIO_InitStruct);

  /*Configure GPIO pin : GREEN_LED_Pin */
  GPIO_InitStruct.Pin = GREEN_LED_Pin;
  GPIO_InitStruct.Mode = GPIO_MODE_OUTPUT_PP;
  GPIO_InitStruct.Pull = GPIO_NOPULL;
  GPIO_InitStruct.Speed = GPIO_SPEED_FREQ_LOW;
  HAL_GPIO_Init(GREEN_LED_GPIO_Port, &GPIO_InitStruct);

}

/* USER CODE BEGIN 4 */

void TIMS_ROTATE_RESET(void){
	TIM4->CCR4 = 0;
	HAL_TIM_PWM_Stop_IT(&htim4, TIM_CHANNEL_4);

	//HAL_Delay(50);
	TIM2->CCR2 = 0;
	HAL_TIM_PWM_Stop_IT(&htim2, TIM_CHANNEL_2);

	TIM8->CCR1 = 0;
	HAL_TIM_PWM_Stop_IT(&htim8, TIM_CHANNEL_1);

	//HAL_Delay(50);
	TIM3->CCR2 = 0;
	HAL_TIM_PWM_Stop_IT(&htim3, TIM_CHANNEL_2);
	HAL_GPIO_WritePin(RED_LED_GPIO_Port, RED_LED_Pin, GPIO_PIN_RESET);
	HAL_GPIO_WritePin(GREEN_LED_GPIO_Port, GREEN_LED_Pin, GPIO_PIN_RESET);
}

void GPIO_PINS_RESET(void){
  HAL_GPIO_WritePin(GPIOA, RED_LED_Pin, GPIO_PIN_RESET);

  HAL_GPIO_WritePin(GPIOB, GREEN_LED_Pin, GPIO_PIN_RESET);
}

void HAL_ADC_ConvCpltCallback(ADC_HandleTypeDef* hadc)
{
    if(hadc->Instance == ADC1)
    {
			HAL_ADC_Stop(&hadc1);
      flag1 = 1;
    }

		if(hadc->Instance == ADC2)
    {
			HAL_ADC_Stop(&hadc2);
      flag2 = 1;
    }

		if(hadc->Instance == ADC3)
    {
			HAL_ADC_Stop(&hadc3);
      flag3 = 1;
    }

}

/* USER CODE END 4 */

void Error_Handler(void)
{
  __disable_irq();
  while (1)
  {
  }
}

/************************ (C) COPYRIGHT STMicroelectronics *****END OF FILE****/
